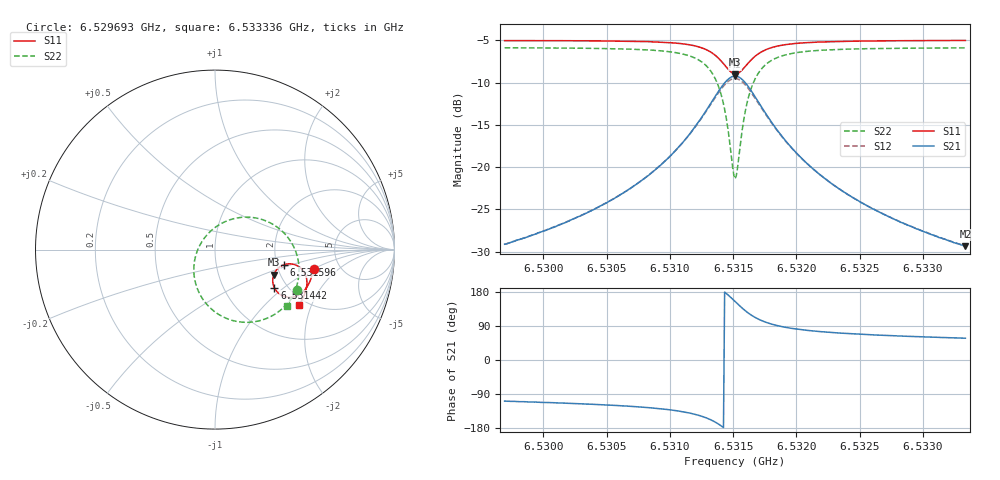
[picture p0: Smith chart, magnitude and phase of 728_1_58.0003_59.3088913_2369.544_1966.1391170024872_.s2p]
#  HZ  S  RI  R  50.00
! Rohde & Schwarz Vector Network Analyzer
! Rohde-Schwarz,ZNB20-2Port,1311601062101988,3.16
! Created: UTC 3/21/2024, 1:22:57 AM
! freq[Hz]  re:S11  im:S11  re:S21  im:S21  re:S12  im:S12  re:S22  im:S22
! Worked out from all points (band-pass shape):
!   401 points, 6.529693 GHz to 6.533336 GHz, reference 50 ohm
!   highest |S21| = -9.23 dB at 6.531514 GHz (marker M1); lowest = -29.3 dB at 6.533336 GHz (marker M2)
!   |S21| within 3 dB of the highest: 6.531332 GHz to 6.531697 GHz (364.6 kHz wide, 0.00558 % of centre)
!   lowest |S11| = -9.0 dB at 6.531514 GHz (marker M3), VSWR 2.11, Z = 92.5 - j29.7 ohm
!   |S11| at or under -10 dB: nowhere
!   |S22| runs from -21.4 to -5.9 dB; largest |S21 - S12| = 0.015
!   S11 on the Smith chart (normalised r, x): 6.529693 GHz: 3.21, -0.99; 6.531442 GHz: 1.71, -0.87; 6.531596 GHz: 2.20, -0.44; 6.533336 GHz: 1.82, -1.64
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6.529693e9  0.55 -0.1062  -0.0111 -0.0332  -0.0118 -0.0329  0.4558 -0.2245
6.5303032e9  0.536 -0.158  -0.0226 -0.0469  -0.0238 -0.0464  0.4188 -0.2824
6.5306401e9  0.5223 -0.1906  -0.0368 -0.0608  -0.0385 -0.0598  0.3813 -0.3233
6.5309134e9  0.5027 -0.2218  -0.0624 -0.0793  -0.0649 -0.0771  0.3242 -0.3657
6.5311319e9  0.4697 -0.2512  -0.1116 -0.0988  -0.1146 -0.0947  0.2263 -0.401
6.5312868e9  0.4179 -0.2662  -0.1921 -0.0992  -0.1939 -0.0907  0.0814 -0.3899
6.5313778e9  0.3669 -0.2523  -0.2703 -0.0588  -0.2672 -0.0469  -0.0451 -0.3056
6.5314143e9  0.3451 -0.2341  -0.3019 -0.021  -0.2956 -0.00906  -0.0907 -0.2359
6.5314416e9  0.3314 -0.2136  -0.3202 0.0178  -0.3107 0.0288  -0.1127 -0.1679
6.5314962e9  0.3226 -0.1592  -0.3239 0.1153  -0.3101 0.1206  -0.099 -0.00774
6.5315144e9  0.3273 -0.1401  -0.3121 0.1482  -0.2981 0.151  -0.0735 0.0434
6.5315327e9  0.336 -0.1225  -0.294 0.1784  -0.2804 0.1786  -0.0385 0.0888
6.5315964e9  0.3858 -0.0838  -0.2018 0.2421  -0.1933 0.2375  0.1234 0.1764
6.5316328e9  0.4163 -0.0789  -0.1483 0.2491  -0.1427 0.2443  0.2133 0.1784
6.5316693e9  0.4423 -0.0833  -0.1037 0.2423  -0.0999 0.238  0.2867 0.1588
6.5317239e9  0.4708 -0.0975  -0.0552 0.2201  -0.0533 0.2171  0.3646 0.1115
6.5317786e9  0.4889 -0.1145  -0.025 0.1946  -0.0235 0.1927  0.4117 0.0604
6.5319061e9  0.5077 -0.1504  0.00833 0.1455  0.00953 0.1445  0.4582 -0.0367
6.5321246e9  0.512 -0.1934  0.0225 0.096  0.0237 0.0957  0.4676 -0.137
6.5323888e9  0.5059 -0.2281  0.0239 0.066  0.025 0.0657  0.4549 -0.2037
6.5327348e9  0.4937 -0.2619  0.0219 0.0457  0.0227 0.0454  0.4341 -0.256
6.5333359e9  0.4691 -0.3085  0.0183 0.0288  0.019 0.0284  0.399 -0.3135
